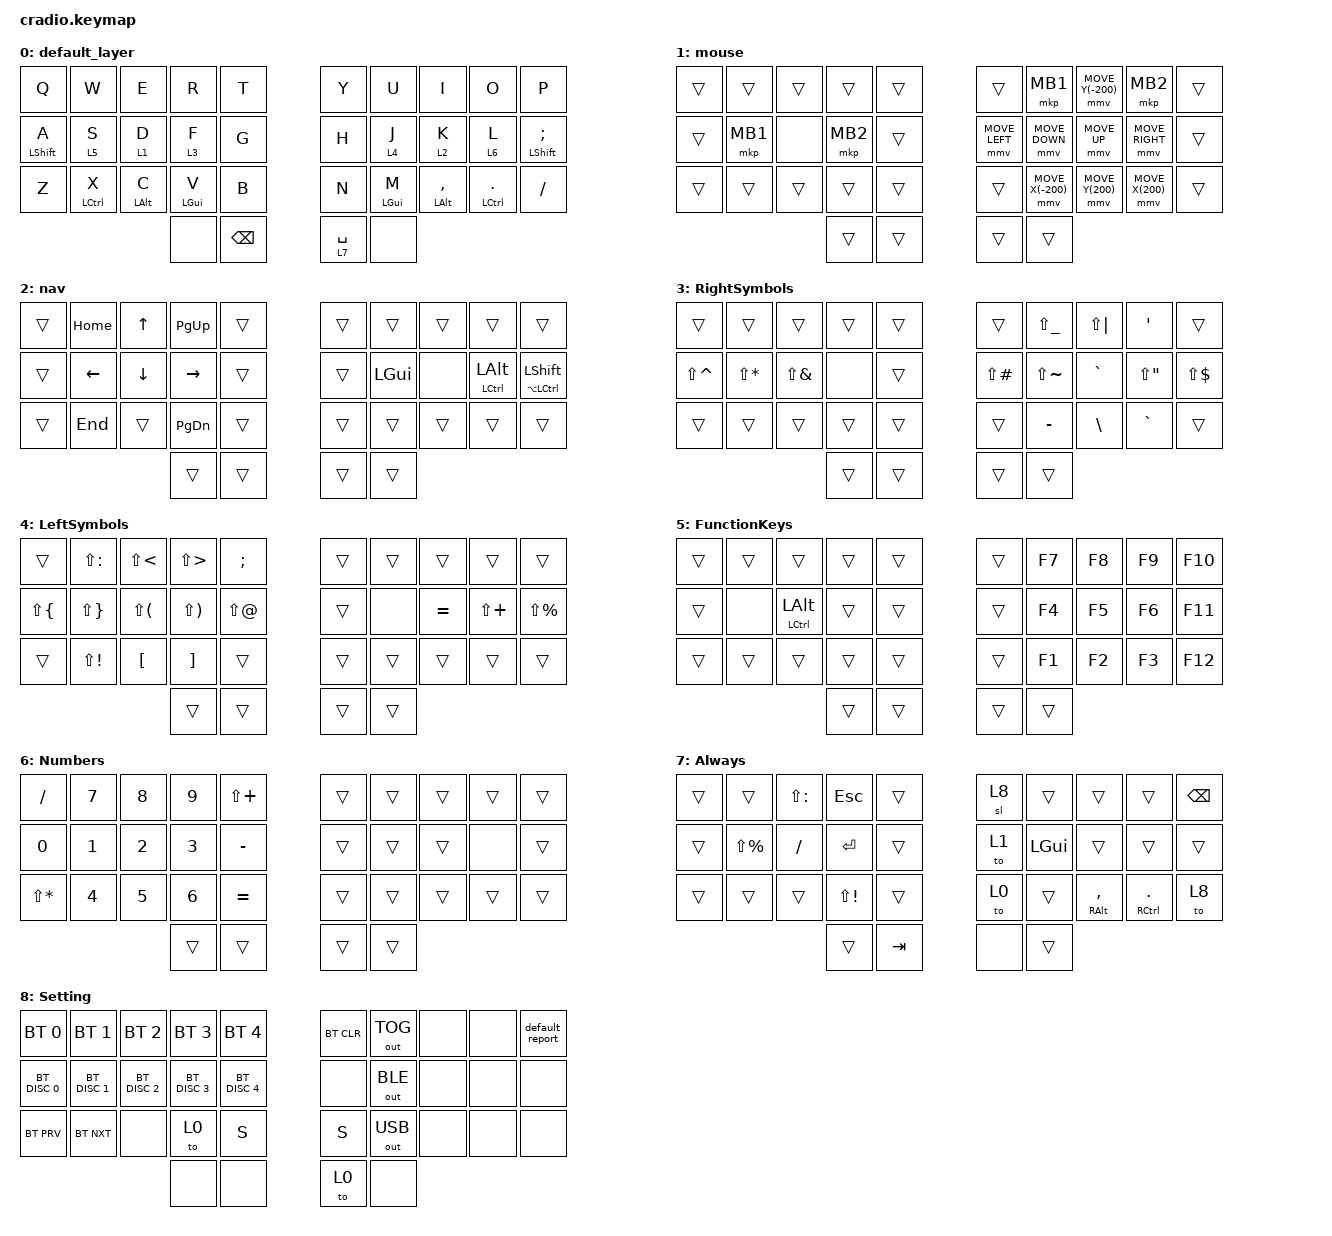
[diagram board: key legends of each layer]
// Copyright (c) 2022 The ZMK Contributors
// SPDX-License-Identifier: MIT

#define ZMK_MOUSE_DEFAULT_MOVE_VAL 2500  // 600
#define ZMK_MOUSE_DEFAULT_SCRL_VAL 20    // 10

#include <behaviors.dtsi>
#include <dt-bindings/zmk/bt.h>
#include <dt-bindings/zmk/keys.h>
#include <dt-bindings/zmk/outputs.h>
#include <dt-bindings/zmk/pointing.h>

#define MAC 0
#define WIN 1
#define RIG 2
#define LEF 3
#define TRI 4
#define MOUSE 5
#define U_MS_U &mmv MOVE_UP
#define U_MS_D &mmv MOVE_DOWN
#define U_MS_L &mmv MOVE_LEFT
#define U_MS_R &mmv MOVE_RIGHT
#define U_WH_U &msc SCRL_UP
#define U_WH_D &msc SCRL_DOWN
#define U_WH_L &msc SCRL_LEFT
#define U_WH_R &msc SCRL_RIGHT

&sk { quick-release; };

&lt {
    retro-tap;
    flavor = "tap-preferred";
    tapping-term-ms = <220>;
};

&mt {
    tapping-term-ms = <220>;
    flavor = "tap-preferred";
    retro-tap;
};

/ {
    chosen { zmk,charmap = &charmap_us; };

    behaviors {
        mmv {
            acceleration-exponent = <1>;      // 1
            time-to-max-speed-ms = <300>;    // 40
            delay-ms = <0>;                   // 0
        };

        msc {
            acceleration-exponent = <0>;      // 0
            time-to-max-speed-ms = <40>;      // 500
            delay-ms = <0>;                   // 10
        };
    };

    conditional_layers { compatible = "zmk,conditional-layers"; };

    combos { compatible = "zmk,combos"; };

    keymap {
        compatible = "zmk,keymap";

        default_layer {
            bindings = <
&kp Q         &kp W        &kp E           &kp R           &kp T            &kp Y        &kp U           &kp I               &kp O             &kp P
&mt LSHIFT A  &lt 5 S      &lt 1 D         &lt 3 F         &kp G            &kp H        &lt 4 J         &lt 2 K             &lt 6 L           &mt LSHIFT SEMICOLON
&kp Z         &mt LCTRL X  &mt LEFT_ALT C  &mt LEFT_GUI V  &kp B            &kp N        &mt LEFT_GUI M  &mt LEFT_ALT COMMA  &mt LCTRL PERIOD  &kp SLASH
                                           &none           &kp BACKSPACE    &lt 7 SPACE  &none
            >;
        };

        Mouse {
            bindings = <
&trans  &trans    &trans  &trans    &trans    &trans          &mkp MB1           &mmv MOVE_Y(-200)  &mkp MB2          &trans
&trans  &mkp MB1  &none   &mkp MB2  &trans    &mmv MOVE_LEFT  &mmv MOVE_DOWN     &mmv MOVE_UP       &mmv MOVE_RIGHT   &trans
&trans  &trans    &trans  &trans    &trans    &trans          &mmv MOVE_X(-200)  &mmv MOVE_Y(200)   &mmv MOVE_X(200)  &trans
                          &trans    &trans    &trans          &trans
            >;

            label = "mouse";
        };

        NAV {
            bindings = <
&trans  &kp HOME        &kp UP    &kp PG_UP      &trans    &trans  &trans        &trans  &trans              &trans
&trans  &kp LEFT_ARROW  &kp DOWN  &kp RIGHT      &trans    &trans  &kp LEFT_GUI  &none   &mt LCTRL LEFT_ALT  &mt LA(LCTRL) LSHIFT
&trans  &kp END         &trans    &kp PAGE_DOWN  &trans    &trans  &trans        &trans  &trans              &trans
                                  &trans         &trans    &trans  &trans
            >;

            label = "nav";
        };

        RightSymbols {
            bindings = <
&trans         &trans        &trans        &trans  &trans    &trans         &kp LS(UNDER)  &kp LS(PIPE)  &kp SQT      &trans
&kp LS(CARET)  &kp LS(STAR)  &kp LS(AMPS)  &none   &trans    &kp LS(POUND)  &kp LS(TILDE)  &kp GRAVE     &kp LS(DQT)  &kp LS(DLLR)
&trans         &trans        &trans        &trans  &trans    &trans         &kp MINUS      &kp BSLH      &kp GRAVE    &trans
                                           &trans  &trans    &trans         &trans
            >;
        };

        LeftSymbols {
            bindings = <
&trans        &kp LS(COLON)  &kp LS(LT)    &kp LS(GT)    &kp SEMI      &trans  &trans  &trans     &trans        &trans
&kp LS(LBRC)  &kp LS(RBRC)   &kp LS(LPAR)  &kp LS(RPAR)  &kp LS(AT)    &trans  &none   &kp EQUAL  &kp LS(PLUS)  &kp LS(PRCNT)
&trans        &kp LS(EXCL)   &kp LBKT      &kp RBKT      &trans        &trans  &trans  &trans     &trans        &trans
                                           &trans        &trans        &trans  &trans
            >;
        };

        FunctionKeys {
            bindings = <
&trans  &trans  &trans          &trans  &trans    &trans  &kp F7  &kp F8  &kp F9  &kp F10
&trans  &none   &mt LCTRL LALT  &trans  &trans    &trans  &kp F4  &kp F5  &kp F6  &kp F11
&trans  &trans  &trans          &trans  &trans    &trans  &kp F1  &kp F2  &kp F3  &kp F12
                                &trans  &trans    &trans  &trans
            >;
        };

        Numbers {
            bindings = <
&kp FSLH      &kp N7  &kp N8  &kp N9  &kp LS(PLUS)    &trans  &trans  &trans  &trans  &trans
&kp N0        &kp N1  &kp N2  &kp N3  &kp MINUS       &trans  &trans  &trans  &none   &trans
&kp LS(STAR)  &kp N4  &kp N5  &kp N6  &kp EQUAL       &trans  &trans  &trans  &trans  &trans
                              &trans  &trans          &trans  &trans
            >;
        };

        Always {
            bindings = <
&trans  &trans         &kp LS(COLON)  &kp ESC       &trans     &sl 8  &trans        &trans               &trans            &kp BSPC
&trans  &kp LS(PRCNT)  &kp FSLH       &kp ENTER     &trans     &to 1  &kp LEFT_GUI  &trans               &trans            &trans
&trans  &trans         &trans         &kp LS(EXCL)  &trans     &to 0  &trans        &mt RIGHT_ALT COMMA  &mt RCTRL PERIOD  &to 8
                                      &trans        &kp TAB    &none  &trans
            >;
        };

        Setting {
            bindings = <
&bt BT_SEL 0   &bt BT_SEL 1   &bt BT_SEL 2   &bt BT_SEL 3   &bt BT_SEL 4     &bt BT_CLR  &out OUT_TOG  &none  &none  &default_report
&bt BT_DISC 0  &bt BT_DISC 1  &bt BT_DISC 2  &bt BT_DISC 3  &bt BT_DISC 4    &none       &out OUT_BLE  &none  &none  &none
&bt BT_PRV     &bt BT_NXT     &none          &to 0          &kp S            &kp S       &out OUT_USB  &none  &none  &none
                                             &none          &none            &to 0       &none
            >;

            label = "Setting";
        };
    };
};
